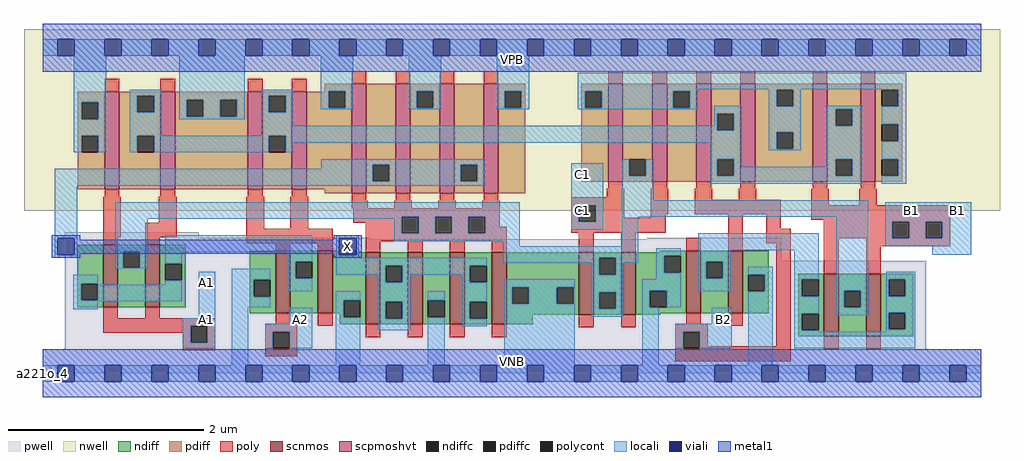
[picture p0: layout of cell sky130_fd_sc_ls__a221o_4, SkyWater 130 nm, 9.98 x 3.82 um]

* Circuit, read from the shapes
.subckt sky130_fd_sc_ls__a221o_4 A1 A2 B1 B2 C1 VGND VNB VPB VPWR X
XM1 n1 A1 n2 VNB sky130_fd_pr__nfet_01v8 w=0.64 l=0.15 m=2
XM2 n2 A2 VGND VNB sky130_fd_pr__nfet_01v8 w=0.64 l=0.15 m=2
XM3 X n1 VGND VNB sky130_fd_pr__nfet_01v8 w=0.74 l=0.15 m=4
XM4 n1 C1 VGND VNB sky130_fd_pr__nfet_01v8 w=0.64 l=0.15 m=2
XM5 n3 B2 VGND VNB sky130_fd_pr__nfet_01v8 w=0.64 l=0.15 m=2
XM6 n1 B1 n3 VNB sky130_fd_pr__nfet_01v8 w=0.64 l=0.15 m=2
XM7 n4 A1 VPWR VPB sky130_fd_pr__pfet_01v8_hvt w=1 l=0.15 m=2
XM8 n4 A2 VPWR VPB sky130_fd_pr__pfet_01v8_hvt w=1 l=0.15 m=2
XM9 X n1 VPWR VPB sky130_fd_pr__pfet_01v8_hvt w=1.12 l=0.15 m=4
XM10 n1 C1 n5 VPB sky130_fd_pr__pfet_01v8_hvt w=1 l=0.15 m=2
XM11 n4 B2 n5 VPB sky130_fd_pr__pfet_01v8_hvt w=1 l=0.15 m=2
XM12 n4 B1 n5 VPB sky130_fd_pr__pfet_01v8_hvt w=1 l=0.15 m=2
.ends

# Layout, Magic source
magic
tech sky130A
magscale 1 2
<< nwell >>
rect -38 332 1958 704
<< pwell >>
rect 45 277 319 289
rect 45 274 669 277
rect 1237 274 1511 277
rect 45 230 1511 274
rect 45 49 1807 230
rect 0 0 1920 49
<< scnmos >>
rect 124 135 154 263
rect 210 135 240 263
rect 477 123 507 251
rect 563 123 593 251
rect 661 100 691 248
rect 747 100 777 248
rect 833 100 863 248
rect 919 100 949 248
rect 1097 120 1127 248
rect 1183 120 1213 248
rect 1316 123 1346 251
rect 1402 123 1432 251
rect 1598 76 1628 204
rect 1684 76 1714 204
<< scpmoshvt >>
rect 127 376 157 576
rect 241 376 271 576
rect 420 376 450 576
rect 510 376 540 576
rect 632 368 662 592
rect 722 368 752 592
rect 812 368 842 592
rect 902 368 932 592
rect 1157 392 1187 592
rect 1247 392 1277 592
rect 1337 392 1367 592
rect 1427 392 1457 592
rect 1575 392 1605 592
rect 1673 392 1703 592
<< ndiff >>
rect 71 183 124 263
rect 71 149 79 183
rect 113 149 124 183
rect 71 135 124 149
rect 154 250 210 263
rect 154 216 165 250
rect 199 216 210 250
rect 154 135 210 216
rect 240 224 293 263
rect 240 190 251 224
rect 285 190 293 224
rect 240 135 293 190
rect 424 191 477 251
rect 424 157 432 191
rect 466 157 477 191
rect 424 123 477 157
rect 507 228 563 251
rect 507 194 518 228
rect 552 194 563 228
rect 507 123 563 194
rect 593 248 643 251
rect 1263 248 1316 251
rect 593 149 661 248
rect 593 123 616 149
rect 608 115 616 123
rect 650 115 661 149
rect 608 100 661 115
rect 691 220 747 248
rect 691 186 702 220
rect 736 186 747 220
rect 691 146 747 186
rect 691 112 702 146
rect 736 112 747 146
rect 691 100 747 112
rect 777 149 833 248
rect 777 115 788 149
rect 822 115 833 149
rect 777 100 833 115
rect 863 220 919 248
rect 863 186 874 220
rect 908 186 919 220
rect 863 146 919 186
rect 863 112 874 146
rect 908 112 919 146
rect 863 100 919 112
rect 949 176 1097 248
rect 949 142 960 176
rect 994 142 1052 176
rect 1086 142 1097 176
rect 949 120 1097 142
rect 1127 236 1183 248
rect 1127 202 1138 236
rect 1172 202 1183 236
rect 1127 166 1183 202
rect 1127 132 1138 166
rect 1172 132 1183 166
rect 1127 120 1183 132
rect 1213 240 1316 248
rect 1213 206 1271 240
rect 1305 206 1316 240
rect 1213 169 1316 206
rect 1213 135 1242 169
rect 1276 135 1316 169
rect 1213 123 1316 135
rect 1346 228 1402 251
rect 1346 194 1357 228
rect 1391 194 1402 228
rect 1346 123 1402 194
rect 1432 202 1485 251
rect 1432 168 1443 202
rect 1477 168 1485 202
rect 1432 123 1485 168
rect 1213 120 1263 123
rect 949 100 1002 120
rect 1545 192 1598 204
rect 1545 158 1553 192
rect 1587 158 1598 192
rect 1545 122 1598 158
rect 1545 88 1553 122
rect 1587 88 1598 122
rect 1545 76 1598 88
rect 1628 169 1684 204
rect 1628 135 1639 169
rect 1673 135 1684 169
rect 1628 76 1684 135
rect 1714 192 1781 204
rect 1714 158 1730 192
rect 1764 158 1781 192
rect 1714 124 1781 158
rect 1714 90 1730 124
rect 1764 90 1781 124
rect 1714 76 1781 90
<< pdiff >>
rect 577 577 632 592
rect 577 576 585 577
rect 72 554 127 576
rect 72 520 80 554
rect 114 520 127 554
rect 72 486 127 520
rect 72 452 80 486
rect 114 452 127 486
rect 72 376 127 452
rect 157 568 241 576
rect 157 534 194 568
rect 228 534 241 568
rect 157 486 241 534
rect 157 452 194 486
rect 228 452 241 486
rect 157 376 241 452
rect 271 559 420 576
rect 271 525 295 559
rect 329 525 363 559
rect 397 525 420 559
rect 271 376 420 525
rect 450 568 510 576
rect 450 534 463 568
rect 497 534 510 568
rect 450 486 510 534
rect 450 452 463 486
rect 497 452 510 486
rect 450 376 510 452
rect 540 543 585 576
rect 619 543 632 577
rect 540 376 632 543
rect 577 368 632 376
rect 662 427 722 592
rect 662 393 675 427
rect 709 393 722 427
rect 662 368 722 393
rect 752 577 812 592
rect 752 543 765 577
rect 799 543 812 577
rect 752 368 812 543
rect 842 427 902 592
rect 842 393 855 427
rect 889 393 902 427
rect 842 368 902 393
rect 932 577 987 592
rect 932 543 945 577
rect 979 543 987 577
rect 932 368 987 543
rect 1102 577 1157 592
rect 1102 543 1110 577
rect 1144 543 1157 577
rect 1102 392 1157 543
rect 1187 438 1247 592
rect 1187 404 1200 438
rect 1234 404 1247 438
rect 1187 392 1247 404
rect 1277 577 1337 592
rect 1277 543 1290 577
rect 1324 543 1337 577
rect 1277 392 1337 543
rect 1367 531 1427 592
rect 1367 497 1380 531
rect 1414 497 1427 531
rect 1367 438 1427 497
rect 1367 404 1380 438
rect 1414 404 1427 438
rect 1367 392 1427 404
rect 1457 580 1575 592
rect 1457 546 1501 580
rect 1535 546 1575 580
rect 1457 493 1575 546
rect 1457 459 1501 493
rect 1535 459 1575 493
rect 1457 392 1575 459
rect 1605 540 1673 592
rect 1605 506 1622 540
rect 1656 506 1673 540
rect 1605 438 1673 506
rect 1605 404 1622 438
rect 1656 404 1673 438
rect 1605 392 1673 404
rect 1703 580 1758 592
rect 1703 546 1716 580
rect 1750 546 1758 580
rect 1703 509 1758 546
rect 1703 475 1716 509
rect 1750 475 1758 509
rect 1703 438 1758 475
rect 1703 404 1716 438
rect 1750 404 1758 438
rect 1703 392 1758 404
<< ndiffc >>
rect 79 149 113 183
rect 165 216 199 250
rect 251 190 285 224
rect 432 157 466 191
rect 518 194 552 228
rect 616 115 650 149
rect 702 186 736 220
rect 702 112 736 146
rect 788 115 822 149
rect 874 186 908 220
rect 874 112 908 146
rect 960 142 994 176
rect 1052 142 1086 176
rect 1138 202 1172 236
rect 1138 132 1172 166
rect 1271 206 1305 240
rect 1242 135 1276 169
rect 1357 194 1391 228
rect 1443 168 1477 202
rect 1553 158 1587 192
rect 1553 88 1587 122
rect 1639 135 1673 169
rect 1730 158 1764 192
rect 1730 90 1764 124
<< pdiffc >>
rect 80 520 114 554
rect 80 452 114 486
rect 194 534 228 568
rect 194 452 228 486
rect 295 525 329 559
rect 363 525 397 559
rect 463 534 497 568
rect 463 452 497 486
rect 585 543 619 577
rect 675 393 709 427
rect 765 543 799 577
rect 855 393 889 427
rect 945 543 979 577
rect 1110 543 1144 577
rect 1200 404 1234 438
rect 1290 543 1324 577
rect 1380 497 1414 531
rect 1380 404 1414 438
rect 1501 546 1535 580
rect 1501 459 1535 493
rect 1622 506 1656 540
rect 1622 404 1656 438
rect 1716 546 1750 580
rect 1716 475 1750 509
rect 1716 404 1750 438
<< poly >>
rect 127 576 157 602
rect 241 576 271 602
rect 420 576 450 602
rect 510 576 540 602
rect 632 592 662 618
rect 722 592 752 618
rect 812 592 842 618
rect 902 592 932 618
rect 1157 592 1187 618
rect 1247 592 1277 618
rect 1337 592 1367 618
rect 1427 592 1457 618
rect 1575 592 1605 618
rect 1673 592 1703 618
rect 127 361 157 376
rect 241 361 271 376
rect 420 361 450 376
rect 510 361 540 376
rect 1157 377 1187 392
rect 1247 377 1277 392
rect 1337 377 1367 392
rect 1427 377 1457 392
rect 1575 377 1605 392
rect 1673 377 1703 392
rect 124 278 160 361
rect 238 308 274 361
rect 210 278 274 308
rect 417 296 453 361
rect 507 296 543 361
rect 632 353 662 368
rect 722 353 752 368
rect 812 353 842 368
rect 902 353 932 368
rect 1154 360 1190 377
rect 632 338 665 353
rect 719 338 755 353
rect 809 338 845 353
rect 899 338 935 353
rect 635 320 935 338
rect 635 308 735 320
rect 124 263 154 278
rect 210 263 240 278
rect 417 266 593 296
rect 477 251 507 266
rect 563 251 593 266
rect 661 286 735 308
rect 769 286 803 320
rect 837 286 871 320
rect 905 300 935 320
rect 1081 344 1190 360
rect 1081 310 1097 344
rect 1131 318 1190 344
rect 1244 325 1280 377
rect 1334 355 1370 377
rect 1424 355 1460 377
rect 1334 325 1510 355
rect 1244 318 1274 325
rect 1131 310 1274 318
rect 905 286 949 300
rect 1081 288 1274 310
rect 661 270 949 286
rect 124 113 154 135
rect 210 113 240 135
rect 661 248 691 270
rect 747 248 777 270
rect 833 248 863 270
rect 919 248 949 270
rect 1097 248 1127 288
rect 1183 248 1213 288
rect 1316 251 1346 277
rect 1402 251 1432 325
rect 1480 296 1510 325
rect 1572 344 1608 377
rect 1670 344 1706 377
rect 1572 314 1856 344
rect 1598 310 1856 314
rect 1480 266 1530 296
rect 124 97 353 113
rect 477 101 507 123
rect 124 83 303 97
rect 287 63 303 83
rect 337 63 353 97
rect 287 47 353 63
rect 455 85 521 101
rect 563 97 593 123
rect 455 51 471 85
rect 505 51 521 85
rect 661 74 691 100
rect 747 74 777 100
rect 833 74 863 100
rect 919 74 949 100
rect 1097 94 1127 120
rect 1183 94 1213 120
rect 1316 101 1346 123
rect 1294 85 1360 101
rect 1402 97 1432 123
rect 455 35 521 51
rect 1294 51 1310 85
rect 1344 55 1360 85
rect 1500 55 1530 266
rect 1598 276 1738 310
rect 1772 276 1806 310
rect 1840 276 1856 310
rect 1598 204 1628 276
rect 1684 260 1856 276
rect 1684 204 1714 260
rect 1344 51 1530 55
rect 1294 25 1530 51
rect 1598 50 1628 76
rect 1684 50 1714 76
<< polycont >>
rect 735 286 769 320
rect 803 286 837 320
rect 871 286 905 320
rect 1097 310 1131 344
rect 303 63 337 97
rect 471 51 505 85
rect 1310 51 1344 85
rect 1738 276 1772 310
rect 1806 276 1840 310
<< locali >>
rect 0 649 31 683
rect 65 649 127 683
rect 161 649 223 683
rect 257 649 319 683
rect 353 649 415 683
rect 449 649 511 683
rect 545 649 607 683
rect 641 649 703 683
rect 737 649 799 683
rect 833 649 895 683
rect 929 649 991 683
rect 1025 649 1087 683
rect 1121 649 1183 683
rect 1217 649 1279 683
rect 1313 649 1375 683
rect 1409 649 1471 683
rect 1505 649 1567 683
rect 1601 649 1663 683
rect 1697 649 1759 683
rect 1793 649 1855 683
rect 1889 649 1920 683
rect 64 554 130 649
rect 64 520 80 554
rect 114 520 130 554
rect 64 486 130 520
rect 64 452 80 486
rect 114 452 130 486
rect 178 568 244 580
rect 178 534 194 568
rect 228 534 244 568
rect 178 486 244 534
rect 279 559 413 649
rect 279 525 295 559
rect 329 525 363 559
rect 397 525 413 559
rect 279 520 413 525
rect 447 568 513 580
rect 447 534 463 568
rect 497 534 513 568
rect 569 577 635 649
rect 569 543 585 577
rect 619 543 635 577
rect 569 540 635 543
rect 749 577 815 649
rect 749 543 765 577
rect 799 543 815 577
rect 749 540 815 543
rect 929 577 995 649
rect 929 543 945 577
rect 979 543 995 577
rect 929 540 995 543
rect 1094 581 1766 615
rect 1094 577 1340 581
rect 1094 543 1110 577
rect 1144 543 1290 577
rect 1324 543 1340 577
rect 1485 580 1551 581
rect 1094 540 1340 543
rect 447 506 513 534
rect 1374 531 1430 547
rect 1374 506 1380 531
rect 447 497 1380 506
rect 1414 497 1430 531
rect 447 486 1430 497
rect 178 452 194 486
rect 228 452 463 486
rect 497 472 1430 486
rect 497 452 513 472
rect 1364 438 1430 472
rect 1485 546 1501 580
rect 1535 546 1551 580
rect 1716 580 1766 581
rect 1485 493 1551 546
rect 1485 459 1501 493
rect 1535 459 1551 493
rect 1485 456 1551 459
rect 1602 540 1676 547
rect 1602 506 1622 540
rect 1656 506 1676 540
rect 570 427 905 438
rect 570 418 675 427
rect 25 393 675 418
rect 709 393 855 427
rect 889 393 905 427
rect 25 384 905 393
rect 25 276 71 384
rect 25 242 31 276
rect 65 242 71 276
rect 25 236 71 242
rect 149 320 976 350
rect 149 316 735 320
rect 149 250 215 316
rect 719 286 735 316
rect 769 286 803 320
rect 837 286 871 320
rect 905 286 976 320
rect 1081 344 1147 430
rect 1081 310 1097 344
rect 1131 310 1147 344
rect 1081 294 1147 310
rect 1184 404 1200 438
rect 1234 404 1250 438
rect 1184 354 1250 404
rect 1364 404 1380 438
rect 1414 422 1430 438
rect 1602 438 1676 506
rect 1602 422 1622 438
rect 1414 404 1622 422
rect 1656 404 1676 438
rect 1364 388 1676 404
rect 1750 546 1766 580
rect 1716 509 1766 546
rect 1750 475 1766 509
rect 1716 438 1766 475
rect 1750 404 1766 438
rect 1716 388 1766 404
rect 1184 320 1689 354
rect 149 216 165 250
rect 199 216 215 250
rect 149 215 215 216
rect 251 248 552 282
rect 251 224 285 248
rect 63 183 113 202
rect 63 149 79 183
rect 502 228 552 248
rect 251 181 285 190
rect 113 149 285 181
rect 63 147 285 149
rect 63 131 113 147
rect 319 113 353 208
rect 287 97 353 113
rect 287 63 303 97
rect 337 63 353 97
rect 287 51 353 63
rect 387 191 466 214
rect 387 157 432 191
rect 502 194 518 228
rect 601 276 647 282
rect 601 242 607 276
rect 641 242 647 276
rect 719 270 976 286
rect 601 236 647 242
rect 942 260 976 270
rect 1184 260 1218 320
rect 942 236 1218 260
rect 601 220 908 236
rect 942 226 1138 236
rect 601 202 702 220
rect 502 168 552 194
rect 686 186 702 202
rect 736 202 874 220
rect 736 186 752 202
rect 387 135 466 157
rect 600 149 650 168
rect 387 17 421 135
rect 505 101 551 134
rect 455 85 551 101
rect 455 51 471 85
rect 505 51 551 85
rect 600 115 616 149
rect 600 17 650 115
rect 686 146 752 186
rect 858 186 874 202
rect 1122 202 1138 226
rect 1172 226 1218 236
rect 1255 240 1305 256
rect 1172 202 1188 226
rect 686 112 702 146
rect 736 112 752 146
rect 686 88 752 112
rect 788 149 822 168
rect 788 17 822 115
rect 858 146 908 186
rect 858 112 874 146
rect 858 96 908 112
rect 944 176 1088 192
rect 944 142 960 176
rect 994 142 1052 176
rect 1086 142 1088 176
rect 944 17 1088 142
rect 1122 166 1188 202
rect 1255 206 1271 240
rect 1255 192 1305 206
rect 1122 132 1138 166
rect 1172 132 1188 166
rect 1122 116 1188 132
rect 1226 169 1305 192
rect 1226 135 1242 169
rect 1276 135 1305 169
rect 1341 252 1587 286
rect 1341 228 1407 252
rect 1341 194 1357 228
rect 1391 194 1407 228
rect 1341 168 1407 194
rect 1443 202 1493 218
rect 1477 168 1493 202
rect 1226 17 1260 135
rect 1369 101 1409 134
rect 1294 85 1409 101
rect 1294 51 1310 85
rect 1344 51 1409 85
rect 1443 17 1493 168
rect 1537 192 1587 252
rect 1537 158 1553 192
rect 1537 122 1587 158
rect 1537 88 1553 122
rect 1623 169 1689 320
rect 1723 310 1899 350
rect 1723 276 1738 310
rect 1772 276 1806 310
rect 1840 276 1899 310
rect 1723 260 1899 276
rect 1819 242 1899 260
rect 1623 135 1639 169
rect 1673 135 1689 169
rect 1623 119 1689 135
rect 1725 192 1785 208
rect 1725 158 1730 192
rect 1764 158 1785 192
rect 1725 124 1785 158
rect 1537 85 1587 88
rect 1725 90 1730 124
rect 1764 90 1785 124
rect 1725 85 1785 90
rect 1537 51 1785 85
rect 0 -17 31 17
rect 65 -17 127 17
rect 161 -17 223 17
rect 257 -17 319 17
rect 353 -17 415 17
rect 449 -17 511 17
rect 545 -17 607 17
rect 641 -17 703 17
rect 737 -17 799 17
rect 833 -17 895 17
rect 929 -17 991 17
rect 1025 -17 1087 17
rect 1121 -17 1183 17
rect 1217 -17 1279 17
rect 1313 -17 1375 17
rect 1409 -17 1471 17
rect 1505 -17 1567 17
rect 1601 -17 1663 17
rect 1697 -17 1759 17
rect 1793 -17 1855 17
rect 1889 -17 1920 17
<< viali >>
rect 31 649 65 683
rect 127 649 161 683
rect 223 649 257 683
rect 319 649 353 683
rect 415 649 449 683
rect 511 649 545 683
rect 607 649 641 683
rect 703 649 737 683
rect 799 649 833 683
rect 895 649 929 683
rect 991 649 1025 683
rect 1087 649 1121 683
rect 1183 649 1217 683
rect 1279 649 1313 683
rect 1375 649 1409 683
rect 1471 649 1505 683
rect 1567 649 1601 683
rect 1663 649 1697 683
rect 1759 649 1793 683
rect 1855 649 1889 683
rect 31 242 65 276
rect 607 242 641 276
rect 31 -17 65 17
rect 127 -17 161 17
rect 223 -17 257 17
rect 319 -17 353 17
rect 415 -17 449 17
rect 511 -17 545 17
rect 607 -17 641 17
rect 703 -17 737 17
rect 799 -17 833 17
rect 895 -17 929 17
rect 991 -17 1025 17
rect 1087 -17 1121 17
rect 1183 -17 1217 17
rect 1279 -17 1313 17
rect 1375 -17 1409 17
rect 1471 -17 1505 17
rect 1567 -17 1601 17
rect 1663 -17 1697 17
rect 1759 -17 1793 17
rect 1855 -17 1889 17
<< metal1 >>
rect 0 683 1920 715
rect 0 649 31 683
rect 65 649 127 683
rect 161 649 223 683
rect 257 649 319 683
rect 353 649 415 683
rect 449 649 511 683
rect 545 649 607 683
rect 641 649 703 683
rect 737 649 799 683
rect 833 649 895 683
rect 929 649 991 683
rect 1025 649 1087 683
rect 1121 649 1183 683
rect 1217 649 1279 683
rect 1313 649 1375 683
rect 1409 649 1471 683
rect 1505 649 1567 683
rect 1601 649 1663 683
rect 1697 649 1759 683
rect 1793 649 1855 683
rect 1889 649 1920 683
rect 0 617 1920 649
rect 19 276 77 282
rect 19 242 31 276
rect 65 273 77 276
rect 595 276 653 282
rect 595 273 607 276
rect 65 245 607 273
rect 65 242 77 245
rect 19 236 77 242
rect 595 242 607 245
rect 641 242 653 276
rect 595 236 653 242
rect 0 17 1920 49
rect 0 -17 31 17
rect 65 -17 127 17
rect 161 -17 223 17
rect 257 -17 319 17
rect 353 -17 415 17
rect 449 -17 511 17
rect 545 -17 607 17
rect 641 -17 703 17
rect 737 -17 799 17
rect 833 -17 895 17
rect 929 -17 991 17
rect 1025 -17 1087 17
rect 1121 -17 1183 17
rect 1217 -17 1279 17
rect 1313 -17 1375 17
rect 1409 -17 1471 17
rect 1505 -17 1567 17
rect 1601 -17 1663 17
rect 1697 -17 1759 17
rect 1793 -17 1855 17
rect 1889 -17 1920 17
rect 0 -49 1920 -17
<< labels >>
rlabel comment s 0 0 0 0 4 a221o_4
flabel pwell s 0 0 1920 49 0 FreeSans 200 0 0 0 VNB
port 7 nsew ground bidirectional
flabel nwell s 0 617 1920 666 0 FreeSans 200 0 0 0 VPB
port 8 nsew power bidirectional
flabel metal1 s 607 242 641 276 0 FreeSans 340 0 0 0 X
port 10 nsew signal output
flabel metal1 s 0 617 1920 666 0 FreeSans 340 0 0 0 VPWR
port 9 nsew power bidirectional abutment
flabel metal1 s 0 0 1920 49 0 FreeSans 340 0 0 0 VGND
port 6 nsew ground bidirectional abutment
flabel locali s 1087 316 1121 350 0 FreeSans 340 0 0 0 C1
port 5 nsew signal input
flabel locali s 1087 390 1121 424 0 FreeSans 340 0 0 0 C1
port 5 nsew signal input
flabel locali s 1759 316 1793 350 0 FreeSans 340 0 0 0 B1
port 3 nsew signal input
flabel locali s 1855 316 1889 350 0 FreeSans 340 0 0 0 B1
port 3 nsew signal input
flabel locali s 511 94 545 128 0 FreeSans 340 0 0 0 A2
port 2 nsew signal input
flabel locali s 1375 94 1409 128 0 FreeSans 340 0 0 0 B2
port 4 nsew signal input
flabel locali s 319 94 353 128 0 FreeSans 340 0 0 0 A1
port 1 nsew signal input
flabel locali s 319 168 353 202 0 FreeSans 340 0 0 0 A1
port 1 nsew signal input
<< properties >>
string LEFsite unit
string LEFclass CORE
string FIXED_BBOX 0 0 1920 666
string GDS_FILE $PDKPATH/libs.ref/sky130_fd_sc_ls/gds/sky130_fd_sc_ls.gds
string LEFsymmetry X Y
string GDS_END 3951698
string GDS_START 3938342
<< end >>
